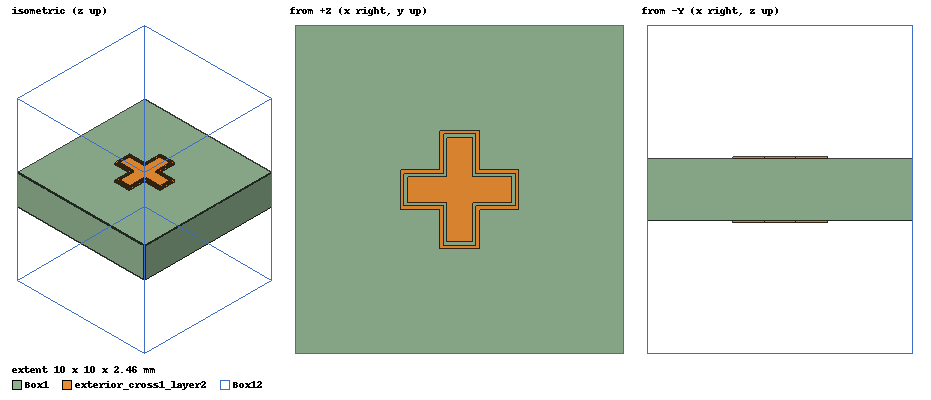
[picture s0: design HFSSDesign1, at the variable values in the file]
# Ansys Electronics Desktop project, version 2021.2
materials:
  vacuum: permittivity=1
  Rogers RT/duroid 5880 (tm): permittivity=2.2 dielectric_loss_tangent=0.0009
  copper: permeability=0.999991 conductivity=58000000

design HFSSDesign1 (HFSS, DrivenModal, model units mm)
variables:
  lx1 = 3.6mm
  wmm = 3.6mm
  lymm = 3.6mm
  ly1 = 3.6mm
  ly1mm = 3.6mm
  hm = -0.05mm
  lxn1 = (lx1+0.8mm)/3
  lyn1mm = (ly1+0.8mm)/3
  lyn1 = ((ly1+0.8mm)/3) mm
  lx1mm = -(lx1-0.4mm)/3
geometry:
  Box1 [Rogers RT/duroid 5880 (tm)] = box(corner=(-5mm, -5mm, 0mm), size=(10mm, 10mm, 2.36mm))
  Box8 = box(corner=((lx1-0.4mm)/2, 0.4mm, 0mm), size=(-lx1+0.4mm, -0.8mm, -0.05mm))
  interior_cross = Box8.duplicate_around_axis(axis=Z, angle=90deg, total=2)
  interior_cross.unite(Box8)
  exterior_cross = box(corner=(lx1/2, 0.6mm, 0mm), size=(-lx1, -1.2mm, -0.05mm))
  Box9_1 = exterior_cross.duplicate_around_axis(axis=Z, angle=90deg, total=2)
  exterior_cross.unite(Box9_1)
  Box9 = box(corner=((lx1-0.2mm)/2, 0.5mm, -0.05mm), size=(-lx1+0.2mm, -1mm, 0.05mm))
  Box9_2 = Box9.duplicate_around_axis(axis=Z, angle=90deg, total=2)
  Box9.unite(Box9_2)
  exterior_cross.subtract(Box9)
  Cylinder1 = cylinder(axis=Z, base_centre=(0mm, 0.14*lx1, -0.05mm), radius=0.15mm, height=(2.36+0.1) mm)
  Cylinder2 = cylinder(axis=Z, base_centre=(0mm, -0.14*lx1, -0.05mm), radius=0.15mm, height=(2.36+0.1) mm)
  Cylinder3 = cylinder(axis=Z, base_centre=(0.14*lx1, 0, -0.05mm), radius=0.15mm, height=(2.36+0.1) mm)
  Cylinder4 = cylinder(axis=Z, base_centre=(-0.14*lx1, 0, -0.05mm), radius=0.15mm, height=(2.36+0.1) mm)
  exterior_cross.unite(interior_cross)
  exterior_cross1_layer2 [copper] = box(corner=(lx1/2, 0.6mm, 0mm), size=(-lx1, -1.2mm, -0.05mm))
  Box9_3 = exterior_cross1_layer2.duplicate_around_axis(axis=Z, angle=90deg, total=2)
  exterior_cross1_layer2.unite(Box9_3)
  Box11 = box(corner=((lx1-0.2mm)/2, 0.5mm, -0.05mm), size=(-lx1+0.2mm, -1mm, 0.05mm))
  Box9_4 = Box11.duplicate_around_axis(axis=Z, angle=90deg, total=2)
  Box11.unite(Box9_4)
  exterior_cross1_layer2.subtract(Box11)
  Box10 = box(corner=((lx1-0.4mm)/2, 0.4mm, 0mm), size=(-lx1+0.4mm, -0.8mm, -0.05mm))
  interior_cross1 = Box10.duplicate_around_axis(axis=Z, angle=90deg, total=2)
  interior_cross1.unite(Box10)
  exterior_cross1_layer2.unite(interior_cross1)
  exterior_cross1_layer2.move(0mm, 0mm, (2.36+0.05) mm)
  exterior_cross1_layer2.unite(exterior_cross, Cylinder4, Cylinder3, Cylinder2, Cylinder1)
  Box12 [vacuum] = box(corner=(5mm, 5mm, -5mm), size=(-10mm, -10mm, 12.36mm))
  Cylinder5 = cylinder(axis=Z, base_centre=(-0.14*lx1, 0mm, -0.05mm), radius=0.15mm, height=(2.36+0.1) mm)
  Cylinder6 = cylinder(axis=Z, base_centre=(0.14*lx1, 0mm, -0.05mm), radius=0.15mm, height=(2.36+0.1) mm)
  Cylinder7 = cylinder(axis=Z, base_centre=(0, 0.14*lx1, -0.05mm), radius=0.15mm, height=(2.36+0.1) mm)
  Cylinder8 = cylinder(axis=Z, base_centre=(0, -0.14*lx1, -0.05mm), radius=0.15mm, height=(2.36+0.1) mm)
  Box1.subtract(Cylinder5..Cylinder8)
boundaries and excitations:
  1: Wave Port Faces=Box12.face(-z) NumModes=1 Modes{Mode1{CharImp=Zpi}}
  2: Wave Port Faces=Box12.face(+z) NumModes=1 Modes{Mode1{CharImp=Zpi}}
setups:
  Setup1: HfssDriven Frequency=20GHz MaxDeltaS=0.02 MaximumPasses=6 MinimumPasses=1 MinimumConvergedPasses=1 PercentRefinement=30 BasisOrder=1 PortAccuracy=2
    sweep Sweep: 19GHz to 21GHz step 0.1GHz; Type=Interpolating InterpTolerance=0.5 InterpMaxSolns=250 InterpUsePortImped=false PassivityErrorTolerance=0.0001
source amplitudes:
  1:1: 1W 0deg
  2:1: 0W 0deg
